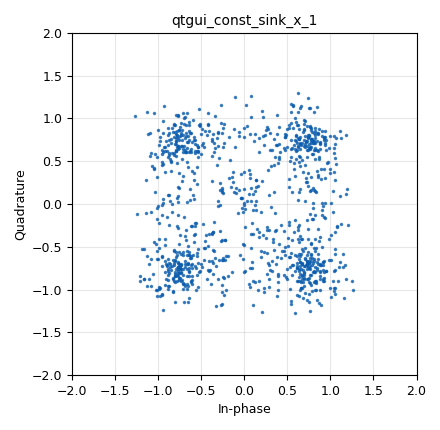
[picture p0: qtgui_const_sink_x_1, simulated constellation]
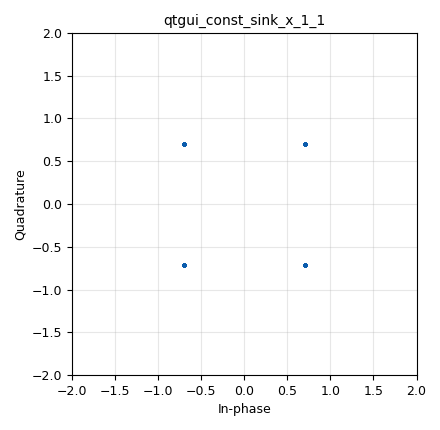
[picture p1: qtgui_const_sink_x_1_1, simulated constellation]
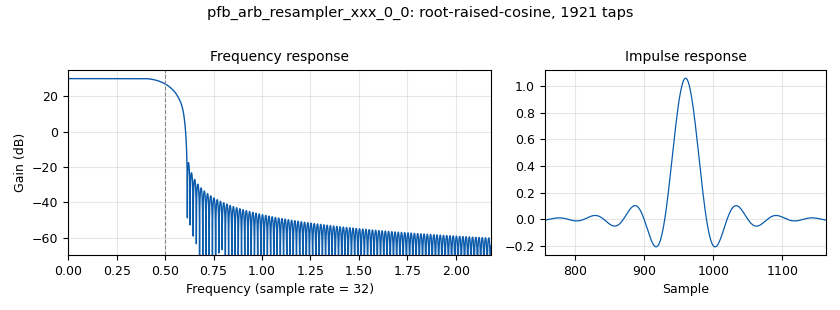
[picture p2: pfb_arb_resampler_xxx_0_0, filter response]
<?xml version='1.0' encoding='utf-8'?>
<?grc format='1' created='3.7.11'?>
<flow_graph>
<block>
<key>options</key>
<param><key>id</key><value>top_block</value></param>
<param><key>generate_options</key><value>qt_gui</value></param>
</block>
<block>
<key>variable</key>
<param><key>id</key><value>const</value></param>
<param><key>value</key><value>const0</value></param>
</block>
<block>
<key>variable_constellation_rect</key>
<param><key>id</key><value>const0</value></param>
<param><key>const_points</key><value>[-1-1j, -1+1j, 1+1j, 1-1j]</value></param>
<param><key>imag_sect</key><value>2</value></param>
<param><key>real_sect</key><value>2</value></param>
<param><key>rot_sym</key><value>4</value></param>
<param><key>sym_map</key><value>[0, 1, 3, 2]</value></param>
<param><key>w_imag_sect</key><value>1</value></param>
<param><key>w_real_sect</key><value>1</value></param>
</block>
<block>
<key>variable_constellation</key>
<param><key>id</key><value>const1</value></param>
<param><key>type</key><value>bpsk</value></param>
<param><key>precision</key><value>8</value></param>
</block>
<block>
<key>variable</key>
<param><key>id</key><value>eb</value></param>
<param><key>value</key><value>0.22</value></param>
</block>
<block>
<key>variable</key>
<param><key>id</key><value>fc</value></param>
<param><key>value</key><value>2e5</value></param>
</block>
<block>
<key>variable</key>
<param><key>id</key><value>filt_delay</value></param>
<param><key>value</key><value>1+(taps_per_filt-1)/2</value></param>
</block>
<block>
<key>variable</key>
<param><key>id</key><value>nfilts</value></param>
<param><key>value</key><value>32</value></param>
</block>
<block>
<key>variable</key>
<param><key>id</key><value>samp_rate</value></param>
<param><key>value</key><value>2.5e5</value></param>
</block>
<block>
<key>variable</key>
<param><key>id</key><value>sps</value></param>
<param><key>value</key><value>4</value></param>
</block>
<block>
<key>variable</key>
<param><key>id</key><value>taps_per_filt</value></param>
<param><key>value</key><value>len(tx_rrc_taps)/nfilts</value></param>
</block>
<block>
<key>variable_rrc_filter_taps</key>
<param><key>id</key><value>tx_rrc_taps</value></param>
<param><key>alpha</key><value>eb</value></param>
<param><key>gain</key><value>nfilts</value></param>
<param><key>ntaps</key><value>15*sps*nfilts</value></param>
<param><key>samp_rate</key><value>nfilts</value></param>
<param><key>sym_rate</key><value>1.0</value></param>
</block>
<block>
<key>analog_random_source_x</key>
<param><key>id</key><value>analog_random_source_x_0</value></param>
<param><key>max</key><value>255</value></param>
<param><key>min</key><value>0</value></param>
<param><key>num_samps</key><value>1000</value></param>
<param><key>type</key><value>byte</value></param>
<param><key>repeat</key><value>True</value></param>
</block>
<block>
<key>blocks_repack_bits_bb</key>
<param><key>id</key><value>blocks_repack_bits_bb_0</value></param>
<param><key>k</key><value>8</value></param>
<param><key>l</key><value>const.bits_per_symbol()</value></param>
<param><key>endianness</key><value>gr.GR_LSB_FIRST</value></param>
</block>
<block>
<key>blocks_throttle</key>
<param><key>id</key><value>blocks_throttle_0</value></param>
<param><key>samples_per_second</key><value>samp_rate</value></param>
<param><key>type</key><value>byte</value></param>
</block>
<block>
<key>digital_chunks_to_symbols_xx</key>
<param><key>id</key><value>digital_chunks_to_symbols_xx_0_0</value></param>
<param><key>dimension</key><value>1</value></param>
<param><key>in_type</key><value>byte</value></param>
<param><key>out_type</key><value>complex</value></param>
<param><key>symbol_table</key><value>const.points()</value></param>
</block>
<block>
<key>digital_constellation_modulator</key>
<param><key>id</key><value>digital_constellation_modulator_0</value></param>
<param><key>constellation</key><value>const</value></param>
<param><key>differential</key><value>False</value></param>
<param><key>_enabled</key><value>0</value></param>
<param><key>excess_bw</key><value>0.35</value></param>
<param><key>samples_per_symbol</key><value>sps</value></param>
</block>
<block>
<key>digital_map_bb</key>
<param><key>id</key><value>digital_map_bb_0_0</value></param>
<param><key>map</key><value>const.pre_diff_code()</value></param>
</block>
<block>
<key>pfb_arb_resampler_xxx</key>
<param><key>id</key><value>pfb_arb_resampler_xxx_0_0</value></param>
<param><key>nfilts</key><value>nfilts</value></param>
<param><key>rrate</key><value>sps</value></param>
<param><key>samp_delay</key><value>filt_delay</value></param>
<param><key>atten</key><value>100</value></param>
<param><key>taps</key><value>tx_rrc_taps</value></param>
<param><key>type</key><value>ccf</value></param>
</block>
<block>
<key>qtgui_const_sink_x</key>
<param><key>id</key><value>qtgui_const_sink_x_1</value></param>
<param><key>size</key><value>1024</value></param>
<param><key>type</key><value>complex</value></param>
</block>
<block>
<key>qtgui_const_sink_x</key>
<param><key>id</key><value>qtgui_const_sink_x_1_0</value></param>
<param><key>_enabled</key><value>0</value></param>
<param><key>size</key><value>1024</value></param>
<param><key>type</key><value>complex</value></param>
</block>
<block>
<key>qtgui_const_sink_x</key>
<param><key>id</key><value>qtgui_const_sink_x_1_1</value></param>
<param><key>size</key><value>1024</value></param>
<param><key>type</key><value>complex</value></param>
</block>
<block>
<key>red_pitaya_wide_sink</key>
<param><key>id</key><value>red_pitaya_wide_sink_0</value></param>
<param><key>addr</key><value>192.168.88.18</value></param>
<param><key>freq</key><value>fc</value></param>
<param><key>corr</key><value>0</value></param>
<param><key>mask</key><value>1</value></param>
<param><key>ptt</key><value>True</value></param>
<param><key>port</key><value>1001</value></param>
<param><key>rate</key><value>int(samp_rate)</value></param>
</block>
<connection><source_block_id>analog_random_source_x_0</source_block_id><sink_block_id>blocks_throttle_0</sink_block_id><source_key>0</source_key><sink_key>0</sink_key></connection>
<connection><source_block_id>blocks_repack_bits_bb_0</source_block_id><sink_block_id>digital_map_bb_0_0</sink_block_id><source_key>0</source_key><sink_key>0</sink_key></connection>
<connection><source_block_id>blocks_throttle_0</source_block_id><sink_block_id>blocks_repack_bits_bb_0</sink_block_id><source_key>0</source_key><sink_key>0</sink_key></connection>
<connection><source_block_id>blocks_throttle_0</source_block_id><sink_block_id>digital_constellation_modulator_0</sink_block_id><source_key>0</source_key><sink_key>0</sink_key></connection>
<connection><source_block_id>digital_chunks_to_symbols_xx_0_0</source_block_id><sink_block_id>pfb_arb_resampler_xxx_0_0</sink_block_id><source_key>0</source_key><sink_key>0</sink_key></connection>
<connection><source_block_id>digital_chunks_to_symbols_xx_0_0</source_block_id><sink_block_id>qtgui_const_sink_x_1_1</sink_block_id><source_key>0</source_key><sink_key>0</sink_key></connection>
<connection><source_block_id>digital_constellation_modulator_0</source_block_id><sink_block_id>qtgui_const_sink_x_1_0</sink_block_id><source_key>0</source_key><sink_key>0</sink_key></connection>
<connection><source_block_id>digital_map_bb_0_0</source_block_id><sink_block_id>digital_chunks_to_symbols_xx_0_0</sink_block_id><source_key>0</source_key><sink_key>0</sink_key></connection>
<connection><source_block_id>pfb_arb_resampler_xxx_0_0</source_block_id><sink_block_id>qtgui_const_sink_x_1</sink_block_id><source_key>0</source_key><sink_key>0</sink_key></connection>
<connection><source_block_id>pfb_arb_resampler_xxx_0_0</source_block_id><sink_block_id>red_pitaya_wide_sink_0</sink_block_id><source_key>0</source_key><sink_key>0</sink_key></connection>
</flow_graph>
